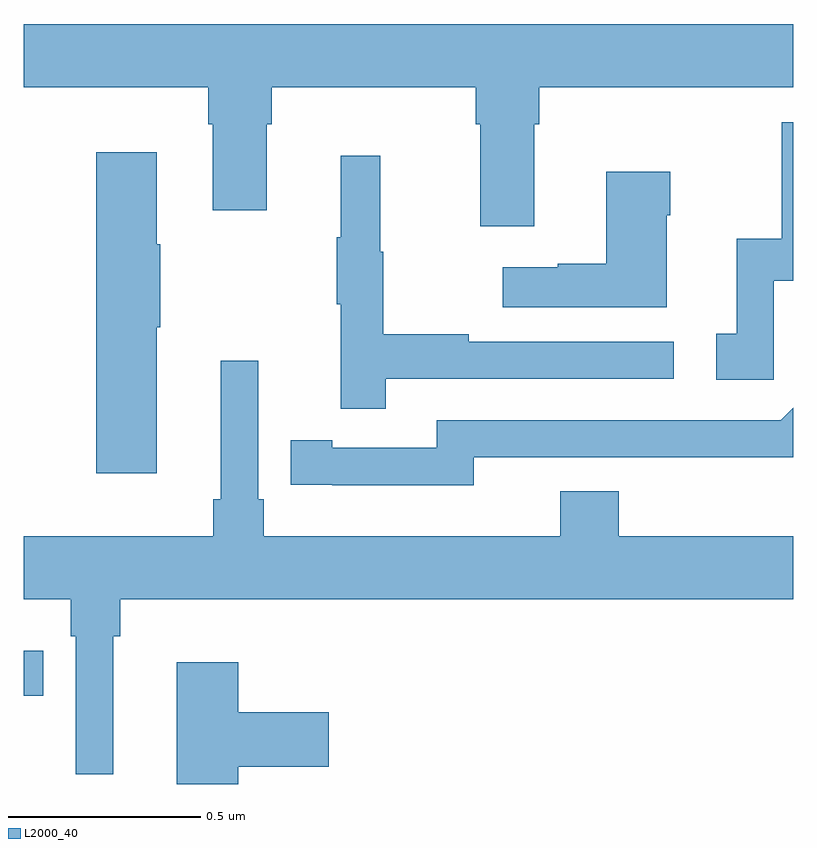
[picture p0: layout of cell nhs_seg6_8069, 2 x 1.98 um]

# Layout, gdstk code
import gdstk
lib = gdstk.Library(unit=1e-6, precision=1e-09)
def R(c, l, rs):  # rectangles x0, y0, x1, y1
    for r in rs: c.add(gdstk.rectangle(r[:2], r[2:], *l))
def P(c, l, *ps):  # polygons
    for p in ps: c.add(gdstk.Polygon(p, *l))
L2000_40 = (2000, 40)

nhs_seg6_8069 = lib.new_cell('nhs_seg6_8069')
R(nhs_seg6_8069, L2000_40, [(216,969.73,216.05,969.846)])
P(nhs_seg6_8069, L2000_40, [(217.327,971.216),(217.34,971.216),(217.34,971.312),(218,971.312),(218,971.476),(216,971.476),(216,971.312),(216.479,971.312),(216.479,971.216),(216.491,971.216),(216.491,970.992),(216.631,970.992),(216.631,971.216),(216.644,971.216),(216.644,971.312),(217.175,971.312),(217.175,971.216),(217.187,971.216),(217.187,970.95),(217.327,970.95)],
  [(217.95,970.809),(218,970.809),(218,971.22),(217.971,971.22),(217.971,970.918),(217.853,970.918),(217.853,970.671),(217.8,970.671),(217.8,970.551),(217.95,970.551)],
  [(216.346,970.687),(216.354,970.687),(216.354,970.904),(216.346,970.904),(216.346,971.143),(216.188,971.143),(216.188,970.308),(216.346,970.308)],
  [(216.941,970.554),(217.69,970.554),(217.69,970.65),(217.157,970.65),(217.157,970.67),(216.934,970.67),(216.934,970.884),(216.926,970.884),(216.926,971.134),(216.824,971.134),(216.824,970.921),(216.813,970.921),(216.813,970.747),(216.824,970.747),(216.824,970.476),(216.941,970.476)],
  [(217.672,970.979),(217.68,970.979),(217.68,971.092),(217.514,971.092),(217.514,970.853),(217.388,970.853),(217.388,970.843),(217.245,970.843),(217.245,970.739),(217.672,970.739)],
  [(216.232,969.884),(216.251,969.884),(216.251,969.98),(218,969.98),(218,970.144),(217.547,970.144),(217.547,970.261),(217.394,970.261),(217.394,970.144),(216.623,970.144),(216.623,970.24),(216.609,970.24),(216.609,970.6),(216.512,970.6),(216.512,970.24),(216.493,970.24),(216.493,970.144),(216,970.144),(216,969.98),(216.122,969.98),(216.122,969.884),(216.135,969.884),(216.135,969.525),(216.232,969.525)],
  [(217.17,970.35),(217.63,970.35),(217.63,970.349),(218,970.349),(218,970.478),(217.968,970.446),(217.074,970.446),(217.074,970.374),(216.802,970.374),(216.802,970.394),(216.694,970.394),(216.694,970.278),(216.802,970.278),(216.802,970.277),(217.17,970.277)],
  [(216.557,969.545),(216.793,969.545),(216.793,969.687),(216.557,969.687),(216.557,969.817),(216.398,969.817),(216.398,969.5),(216.557,969.5)])

lib.write_gds('nhs_seg6_8069.gds')
